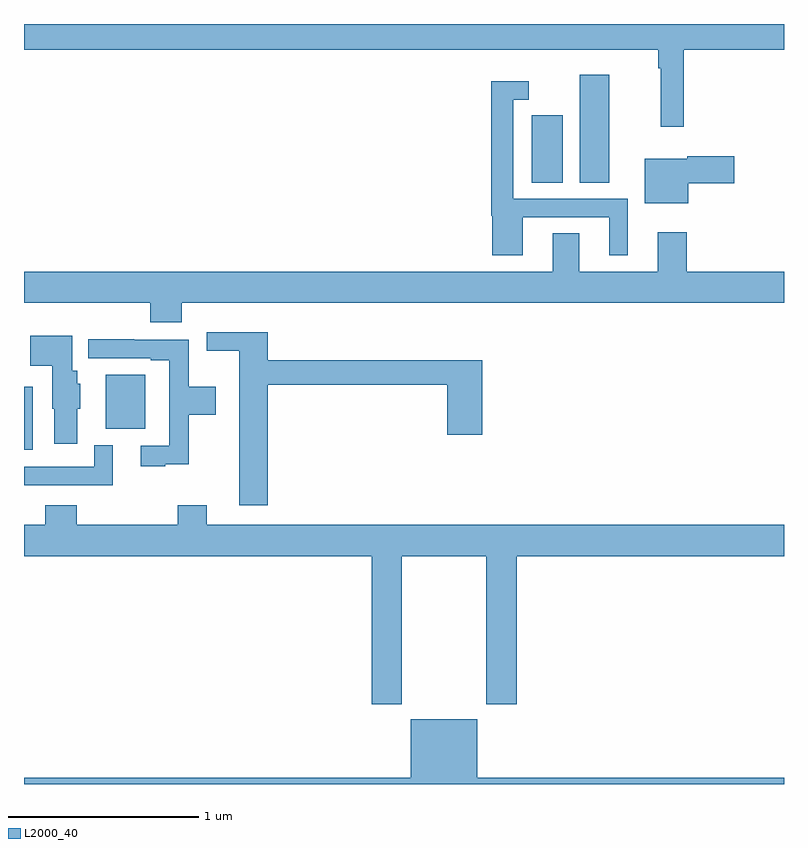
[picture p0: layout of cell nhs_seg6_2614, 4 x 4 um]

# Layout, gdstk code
import gdstk
lib = gdstk.Library(unit=1e-6, precision=1e-09)
def R(c, l, rs):  # rectangles x0, y0, x1, y1
    for r in rs: c.add(gdstk.rectangle(r[:2], r[2:], *l))
def P(c, l, *ps):  # polygons
    for p in ps: c.add(gdstk.Polygon(p, *l))
L2000_40 = (2000, 40)

nhs_seg6_2614 = lib.new_cell('nhs_seg6_2614')
R(nhs_seg6_2614, L2000_40, [(267,917.258,267.046,917.59), (267.431,917.369,267.637,917.653), (269.672,918.664,269.836,919.021), (269.924,918.664,270.079,919.234)])
P(nhs_seg6_2614, L2000_40, [(271,919.5),(267,919.5),(267,919.364),(270.337,919.364),(270.337,919.268),(270.352,919.268),(270.352,918.96),(270.473,918.96),(270.473,919.364),(271,919.364)],
  [(269.626,918.483),(270.08,918.483),(270.08,918.282),(270.178,918.282),(270.178,918.579),(269.574,918.579),(269.574,919.101),(269.656,919.101),(269.656,919.198),(269.458,919.198),(269.458,918.492),(269.465,918.492),(269.465,918.282),(269.626,918.282)],
  [(270.496,918.661),(270.739,918.661),(270.739,918.803),(270.492,918.803),(270.492,918.79),(270.266,918.79),(270.266,918.557),(270.496,918.557)],
  [(271,918.196),(270.488,918.196),(270.488,918.403),(270.335,918.403),(270.335,918.196),(269.923,918.196),(269.923,918.398),(269.783,918.398),(269.783,918.196),(267,918.196),(267,918.032),(267.665,918.032),(267.665,917.93),(267.83,917.93),(267.83,918.032),(271,918.032)],
  [(268.283,917.602),(269.228,917.602),(269.228,917.337),(269.411,917.337),(269.411,917.731),(268.283,917.731),(268.283,917.878),(267.963,917.878),(267.963,917.78),(268.133,917.78),(268.133,916.968),(268.283,916.968)],
  [(267.28,917.475),(267.295,917.475),(267.295,917.607),(267.28,917.607),(267.28,917.676),(267.253,917.676),(267.253,917.86),(267.034,917.86),(267.034,917.702),(267.149,917.702),(267.149,917.475),(267.158,917.475),(267.158,917.292),(267.28,917.292)],
  [(267.743,917.183),(267.866,917.183),(267.866,917.443),(268.009,917.443),(268.009,917.59),(267.866,917.59),(267.866,917.838),(267.581,917.838),(267.581,917.84),(267.339,917.84),(267.339,917.742),(267.668,917.742),(267.668,917.73),(267.765,917.73),(267.765,917.28),(267.615,917.28),(267.615,917.172),(267.743,917.172)],
  [(267.466,917.284),(267.369,917.284),(267.369,917.169),(267,917.169),(267,917.073),(267.466,917.073)],
  [(268.989,916.7),(269.434,916.7),(269.434,915.921),(269.594,915.921),(269.594,916.7),(271,916.7),(271,916.864),(267.961,916.864),(267.961,916.966),(267.809,916.966),(267.809,916.864),(267.278,916.864),(267.278,916.966),(267.113,916.966),(267.113,916.864),(267,916.864),(267,916.7),(268.829,916.7),(268.829,915.921),(268.989,915.921)],
  [(271,915.532),(269.386,915.532),(269.386,915.841),(269.036,915.841),(269.036,915.532),(267,915.532),(267,915.5),(271,915.5)])

lib.write_gds('nhs_seg6_2614.gds')
